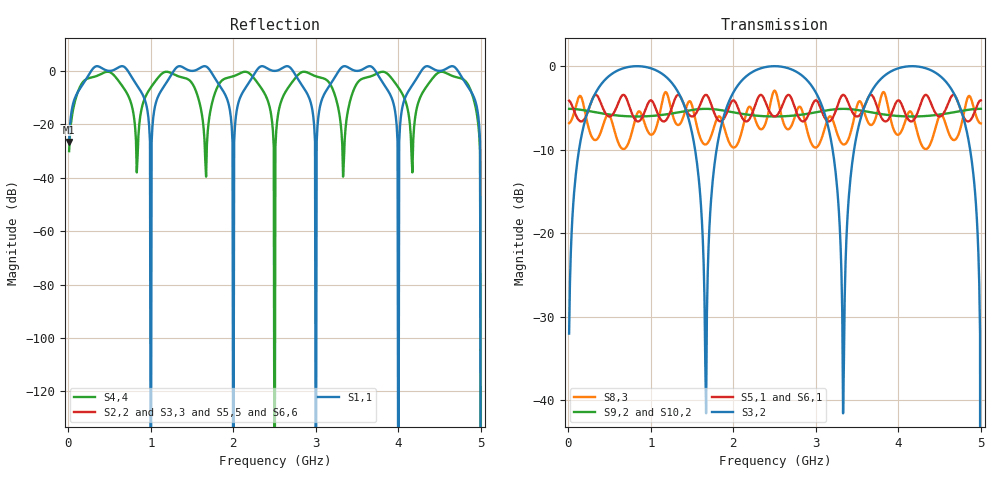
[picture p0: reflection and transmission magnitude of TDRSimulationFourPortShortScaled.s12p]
# MHz MA S R 50.0
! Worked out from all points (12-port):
!   500 points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, 10 MHz to 5 GHz, reference 50 ohm
!   strongest paths, dB at 10 MHz, 1.26 GHz, 2.51 GHz, 3.76 GHz, 5 GHz:
!     S3,2: -32.0, -2.1, 0.0, -1.8, -
!     S5,1: -4.1, -4.8, -6.0, -5.4, -4.1
!     S6,1: -4.1, -4.8, -6.0, -5.4, -4.1
!     S9,2: -5.1, -5.7, -6.0, -5.7, -5.1
!     S10,2: -5.1, -5.7, -6.0, -5.7, -5.1
!     S8,3: -6.8, -5.7, -3.0, -4.9, -6.8
!   lowest |S11| = -26.6 dB at 10 MHz (marker M1), VSWR 1.10, Z = 50.4 + j4.7 ohm
!   |S11| at or under -10 dB: 917.4 MHz to 1.083 GHz (165.2 MHz wide, 16.5 % of centre); 1.917 GHz to 2.083 GHz (165.2 MHz wide, 8.26 % of centre); 2.917 GHz to 3.083 GHz (165.2 MHz wide, 5.51 % of centre) (the widest 3 of 6)
